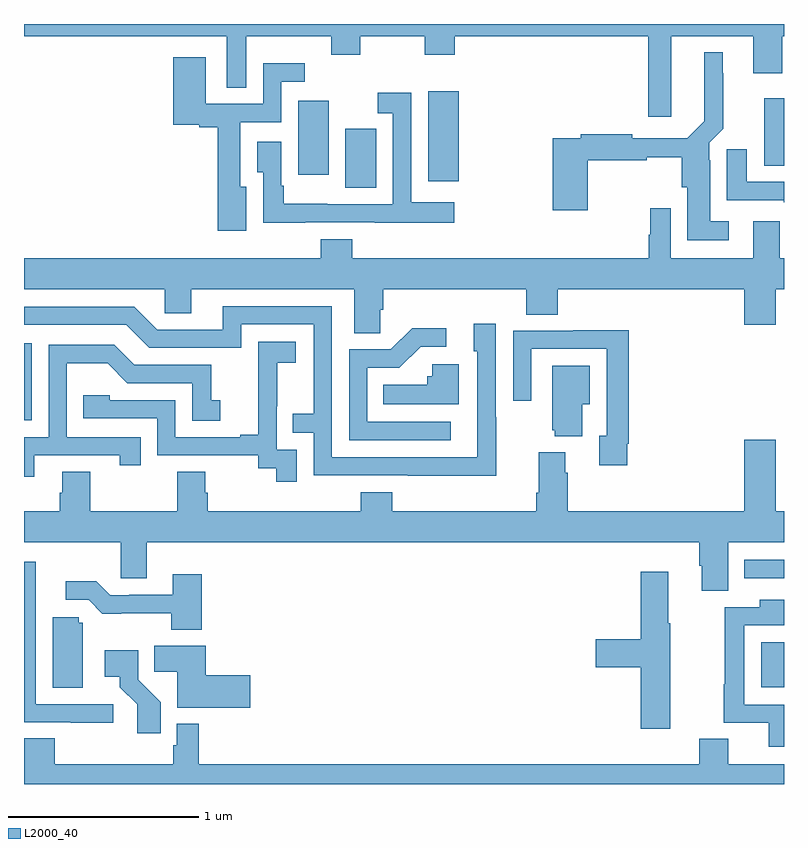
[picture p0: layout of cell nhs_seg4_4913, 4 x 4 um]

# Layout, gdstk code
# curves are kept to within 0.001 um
import gdstk
lib = gdstk.Library(unit=1e-6, precision=1e-09)
def R(c, l, rs):  # rectangles x0, y0, x1, y1
    for r in rs: c.add(gdstk.rectangle(r[:2], r[2:], *l))
def P(c, l, *ps):  # polygons
    for p in ps: c.add(gdstk.Polygon(p, *l))
L2000_40 = (2000, 40)

nhs_seg4_4913 = lib.new_cell('nhs_seg4_4913')
R(nhs_seg4_4913, L2000_40, [(380.879,777.41,381,777.646), (380.792,777.984,381,778.08), (377,778.815,377.04,779.221), (378.692,780.037,378.853,780.348), (379.127,780.072,379.288,780.547), (378.443,780.107,378.604,780.496), (380.897,780.154,381,780.508)])
P(nhs_seg4_4913, L2000_40, [(377,780.836),(378.068,780.836),(378.068,780.565),(378.169,780.565),(378.169,780.836),(378.616,780.836),(378.616,780.737),(378.771,780.737),(378.771,780.836),(379.108,780.836),(379.108,780.737),(379.268,780.737),(379.268,780.836),(380.285,780.836),(380.285,780.411),(380.407,780.411),(380.407,780.836),(380.837,780.836),(380.837,780.642),(380.99,780.642),(380.99,780.836),(381,780.836),(381,780.9),(377,780.9)],
  [(380.71,779.863),(380.611,779.863),(380.611,780.182),(380.607,780.182),(380.607,780.276),(380.681,780.35),(380.681,780.641),(380.677,780.641),(380.677,780.751),(380.579,780.751),(380.58,780.388),(380.492,780.3),(380.201,780.3),(380.201,780.32),(379.93,780.32),(379.93,780.3),(379.784,780.3),(379.784,779.919),(379.967,779.919),(379.967,780.184),(380.278,780.184),(380.278,780.199),(380.462,780.199),(380.462,780.042),(380.492,780.042),(380.492,779.762),(380.71,779.762)],
  [(378.169,780.043),(378.139,780.043),(378.139,780.384),(378.354,780.384),(378.354,780.597),(378.478,780.597),(378.478,780.694),(378.258,780.694),(378.258,780.48),(377.956,780.48),(377.956,780.724),(377.786,780.724),(377.786,780.371),(377.922,780.371),(377.922,780.356),(378.021,780.356),(378.021,779.811),(378.169,779.811)],
  [(378.479,779.856),(378.845,779.856),(378.845,779.855),(379.264,779.855),(379.264,779.962),(379.038,779.962),(379.038,780.538),(378.861,780.538),(378.861,780.429),(378.942,780.429),(378.942,779.952),(378.596,779.952),(378.596,779.953),(378.367,779.953),(378.367,780.049),(378.354,780.049),(378.354,780.28),(378.227,780.28),(378.227,780.121),(378.258,780.121),(378.258,779.855),(378.479,779.855)],
  [(381,780.069),(380.803,780.069),(380.803,780.241),(380.699,780.241),(380.699,779.973),(380.999,779.973),(380.999,779.961),(381,779.961)],
  [(378.876,779.395),(378.89,779.395),(378.89,779.504),(379.643,779.504),(379.643,779.371),(379.808,779.371),(379.808,779.504),(380.792,779.504),(380.792,779.316),(380.956,779.316),(380.956,779.504),(381,779.504),(381,779.668),(380.977,779.668),(380.977,779.863),(380.837,779.863),(380.837,779.668),(380.403,779.668),(380.403,779.929),(380.295,779.929),(380.295,779.79),(380.287,779.79),(380.287,779.668),(378.728,779.668),(378.728,779.767),(378.563,779.767),(378.563,779.668),(377,779.668),(377,779.504),(377.742,779.504),(377.742,779.377),(377.881,779.377),(377.881,779.504),(378.737,779.504),(378.737,779.272),(378.876,779.272)],
  [(379.485,778.829),(379.482,778.829),(379.482,779.323),(379.367,779.323),(379.367,779.178),(379.386,779.178),(379.385,778.62),(378.621,778.62),(378.621,779.415),(378.047,779.415),(378.047,779.292),(377.7,779.292),(377.58,779.412),(377,779.412),(377,779.316),(377.538,779.316),(377.658,779.196),(378.144,779.196),(378.144,779.319),(378.525,779.319),(378.525,778.85),(378.415,778.85),(378.415,778.749),(378.525,778.749),(378.525,778.524),(379.485,778.523)],
  [(379.246,778.806),(378.807,778.806),(378.807,779.091),(378.976,779.091),(379.087,779.202),(379.222,779.202),(379.222,779.3),(379.043,779.3),(378.93,779.187),(378.711,779.187),(378.711,778.71),(379.246,778.71)],
  [(380.176,778.69),(380.183,778.69),(380.183,779.288),(379.891,779.288),(379.891,779.286),(379.575,779.286),(379.575,778.917),(379.671,778.917),(379.671,779.19),(380.067,779.19),(380.067,778.734),(380.027,778.734),(380.027,778.578),(380.176,778.578)],
  [(378.435,778.659),(378.33,778.659),(378.33,778.889),(378.332,778.889),(378.332,779.117),(378.43,779.117),(378.43,779.227),(378.232,779.227),(378.232,779.021),(378.233,779.021),(378.233,778.738),(378.137,778.738),(378.137,778.725),(377.796,778.725),(377.796,778.92),(377.451,778.92),(377.451,778.947),(377.311,778.947),(377.311,778.824),(377.7,778.824),(377.7,778.629),(378.234,778.629),(378.234,778.561),(378.327,778.561),(378.327,778.491),(378.435,778.491)],
  [(377.053,778.629),(377.504,778.629),(377.504,778.578),(377.615,778.578),(377.615,778.725),(377.226,778.725),(377.226,779.114),(377.44,779.114),(377.544,779.01),(377.886,779.01),(377.886,778.812),(378.034,778.812),(378.034,778.921),(377.985,778.921),(377.985,779.106),(377.581,779.106),(377.476,779.211),(377.13,779.211),(377.13,778.725),(377,778.725),(377,778.518),(377.053,778.518)],
  [(379.288,779.11),(379.149,779.11),(379.149,779.046),(379.123,779.046),(379.123,779.002),(378.892,779.002),(378.892,778.898),(379.288,778.898)],
  [(379.939,778.898),(379.978,778.898),(379.978,779.101),(379.781,779.101),(379.781,778.761),(379.793,778.761),(379.793,778.73),(379.939,778.73)],
  [(380.707,778.172),(381,778.172),(381,778.336),(380.956,778.336),(380.956,778.711),(380.792,778.711),(380.792,778.336),(379.862,778.336),(379.862,778.538),(379.849,778.538),(379.849,778.645),(379.709,778.645),(379.709,778.432),(379.697,778.432),(379.697,778.336),(378.938,778.336),(378.938,778.435),(378.773,778.435),(378.773,778.336),(377.966,778.336),(377.966,778.434),(377.953,778.434),(377.953,778.544),(377.806,778.544),(377.806,778.336),(377.349,778.336),(377.349,778.544),(377.201,778.544),(377.201,778.434),(377.189,778.434),(377.189,778.336),(377,778.336),(377,778.172),(377.508,778.172),(377.508,777.982),(377.647,777.982),(377.647,778.172),(380.555,778.172),(380.555,778.05),(380.567,778.05),(380.567,777.916),(380.707,777.916)],
  [(377.47,777.321),(377.061,777.321),(377.061,778.069),(377,778.069),(377,777.225),(377.245,777.225),(377.245,777.223),(377.47,777.223)],
  [(380.4,777.745),(380.392,777.745),(380.392,778.018),(380.246,778.018),(380.246,777.662),(380.01,777.662),(380.01,777.515),(380.246,777.515),(380.246,777.192),(380.4,777.192)],
  [(377.936,778.003),(377.783,778.003),(377.783,777.897),(377.554,777.897),(377.554,777.894),(377.454,777.894),(377.381,777.967),(377.22,777.967),(377.22,777.87),(377.34,777.87),(377.413,777.797),(377.776,777.798),(377.776,777.713),(377.936,777.713)],
  [(381,777.318),(380.79,777.318),(380.79,777.735),(381,777.735),(381,777.871),(380.872,777.871),(380.872,777.831),(380.689,777.831),(380.689,777.425),(380.682,777.425),(380.682,777.222),(380.921,777.222),(380.921,777.096),(381,777.096)],
  [(377.308,777.75),(377.289,777.75),(377.289,777.777),(377.15,777.777),(377.15,777.406),(377.308,777.406)],
  [(378.19,777.473),(377.957,777.473),(377.957,777.628),(377.686,777.628),(377.686,777.49),(377.807,777.49),(377.807,777.302),(378.19,777.302)],
  [(377.72,777.33),(377.601,777.449),(377.601,777.604),(377.424,777.604),(377.424,777.464),(377.504,777.464),(377.504,777.409),(377.595,777.319),(377.595,777.168),(377.72,777.168)],
  [(381,777.004),(380.707,777.004),(380.707,777.137),(380.555,777.137),(380.555,777.004),(377.921,777.004),(377.921,777.217),(377.805,777.217),(377.805,777.105),(377.785,777.105),(377.785,777.004),(377.162,777.004),(377.162,777.14),(377,777.14),(377,776.9),(381,776.9)])

lib.write_gds('nhs_seg4_4913.gds')
